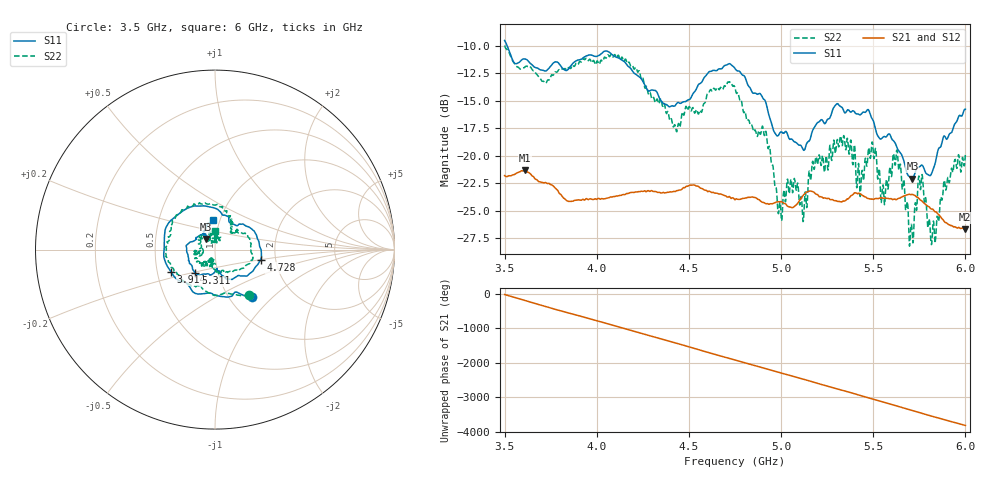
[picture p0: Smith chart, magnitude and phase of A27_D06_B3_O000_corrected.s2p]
! Created with skrf 1.9.0 (http://scikit-rf.org).
# Hz S RI R 50.0
!freq ReS11 ImS11 ReS21 ImS21 ReS12 ImS12 ReS22 ImS22
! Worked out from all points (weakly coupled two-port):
!   1601 points, 3.5 GHz to 6 GHz, reference 50 ohm
!   highest |S21| = -21.33 dB at 3.609 GHz (marker M1); lowest = -26.7 dB at 5.995 GHz (marker M2)
!   lowest |S11| = -22.1 dB at 5.713 GHz (marker M3), VSWR 1.17, Z = 44.8 + j5.38 ohm
!   |S11| at or under -10 dB: 3.514 GHz to end of sweep
!   |S22| runs from -28.2 to -10.0 dB; largest |S21 - S12| = 0.00094
!   S11 on the Smith chart (normalised r, x): 3.5 GHz: 1.27, -0.75; 3.914 GHz: 0.59, -0.16; 4.728 GHz: 1.67, -0.20; 5.311 GHz: 0.78, -0.21; 6 GHz: 0.93, +0.31
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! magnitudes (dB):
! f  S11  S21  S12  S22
! 3.5 GHz  -9.5  -21.8  -21.8  -10.0
! 3.609 GHz  -11.2  -21.3  -21.3  -11.9
! 3.914 GHz  -11.2  -24.0  -24.0  -11.5
! 3.917 GHz  -11.2  -24.0  -24.0  -11.4
! 4.334 GHz  -14.5  -23.3  -23.3  -15.2
! 4.441 GHz  -15.2  -23.2  -23.1  -17.2
! 4.728 GHz  -11.7  -23.9  -23.7  -13.3
! 4.75 GHz  -12.1  -24.0  -23.9  -13.8
! 4.911 GHz  -14.9  -24.3  -24.2  -18.1
! 4.994 GHz  -17.9  -24.2  -24.1  -24.2
! 5.062 GHz  -18.6  -24.7  -24.6  -23.4
! 5.128 GHz  -19.4  -23.5  -23.4  -23.7
! 5.167 GHz  -17.9  -23.2  -23.2  -21.0
! 5.311 GHz  -15.3  -24.1  -24.1  -19.1
! 5.42 GHz  -16.2  -23.4  -23.4  -20.7
! 5.584 GHz  -18.0  -23.9  -23.8  -22.2
! 5.638 GHz  -19.5  -23.9  -23.8  -21.1
! 5.713 GHz  -22.1  -23.5  -23.4  -27.2
! 5.755 GHz  -21.0  -24.0  -23.9  -22.9
! 5.825 GHz  -21.2  -24.9  -24.8  -26.0
! 5.995 GHz  -15.8  -26.7  -26.6  -20.8
! 6 GHz  -15.8  -26.7  -26.6  -19.9
